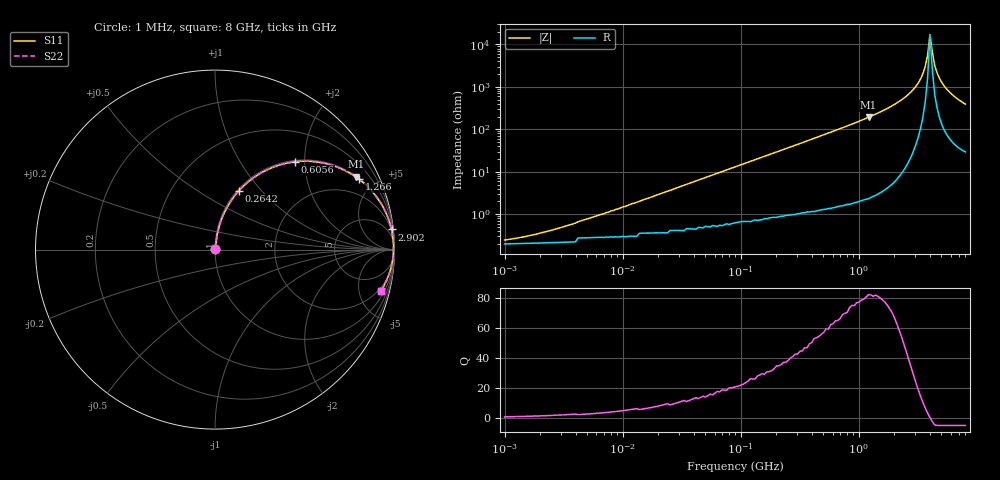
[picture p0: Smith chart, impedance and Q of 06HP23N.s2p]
# MHz S MA R 50
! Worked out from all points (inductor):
!   196 points, 1 MHz to 8 GHz, reference 50 ohm
!   read as one part in series: L = 23 nH near 6.034 MHz
!   highest Q = 82.2 at 1.209 GHz (marker M1), where L = 25.3 nH
!   self-resonance near 4.007 GHz
!   S11 on the Smith chart (normalised r, x): 1 MHz: 1.00, +0.00; 264.2 MHz: 1.02, +0.77; 605.6 MHz: 1.03, +1.79; 1.266 GHz: 1.05, +4.06; 2.902 GHz: 2, +17; 8 GHz: 1.59, -7.82
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1  0.002454 35.9  0.998 -0.1  0.998 -0.1  0.002454 35.9
2.091  0.003734 53.7  0.998 -0.2  0.998 -0.2  0.003734 53.7
4.576  0.007069 68.5  0.997 -0.4  0.997 -0.4  0.007069 68.5
20.943  0.03 81.2  0.996 -1.7  0.996 -1.7  0.03 81.2
91.528  0.131 79.8  0.985 -7.5  0.985 -7.5  0.131 79.8
264.191  0.355 67.8  0.926 -20.8  0.926 -20.8  0.355 67.8
418.867  0.518 57.7  0.846 -31.2  0.846 -31.2  0.518 57.7
605.623  0.662 47.6  0.739 -41.4  0.739 -41.4  0.662 47.6
1209.039  0.883 27.4  0.46 -61.9  0.46 -61.9  0.883 27.4
1266.065  0.893 26.1  0.44 -63.2  0.44 -63.2  0.893 26.1
1830.556  0.954 16.6  0.286 -72.6  0.286 -72.6  0.954 16.6
2413.671  0.98 10.4  0.18 -78.5  0.18 -78.5  0.98 10.4
2902.294  0.99 6.5  0.113 -81.5  0.113 -81.5  0.99 6.5
3332.644  0.993 3.7  0.065 -82.4  0.065 -82.4  0.993 3.7
3654.438  0.995 1.9  0.033 -79.6  0.033 -79.6  0.995 1.9
3826.806  0.995 1.0  0.018 -72.2  0.018 -72.2  0.995 1.0
4007.304  0.994 0.1  0.005799 -15.7  0.005799 -15.7  0.994 0.1
4196.316  0.994 -0.8  0.015 66.3  0.015 66.3  0.994 -0.8
4394.242  0.993 -1.7  0.031 76.2  0.031 76.2  0.993 -1.7
4818.542  0.991 -3.5  0.062 79.6  0.062 79.6  0.991 -3.5
5794.008  0.982 -7.2  0.126 78.2  0.126 78.2  0.982 -7.2
8000  0.952 -14.0  0.243 71.7  0.243 71.7  0.952 -14.0
